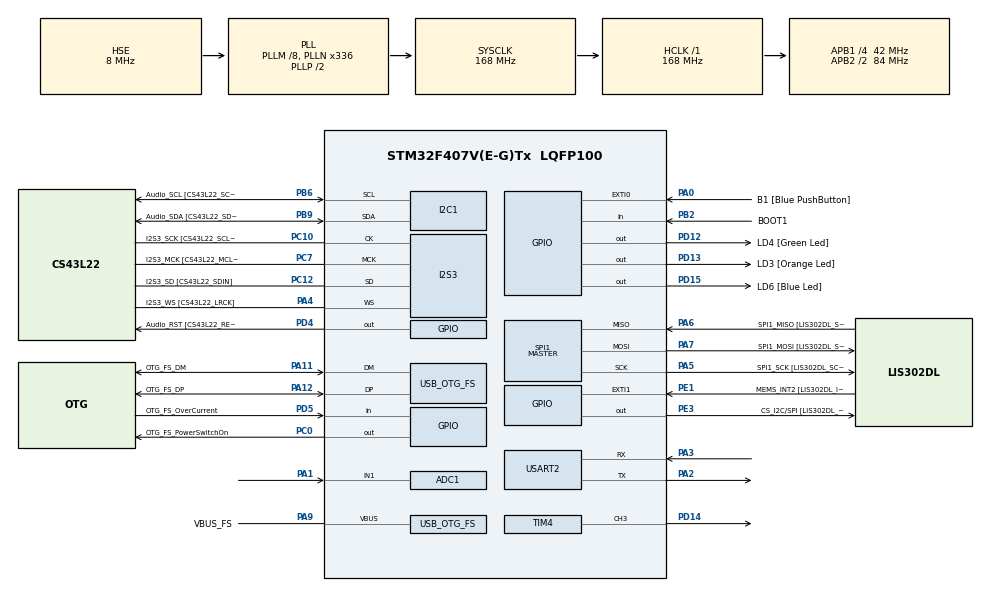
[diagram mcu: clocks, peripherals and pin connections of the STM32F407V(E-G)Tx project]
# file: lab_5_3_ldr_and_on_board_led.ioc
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ADC1.Channel-1\#ChannelRegularConversion=ADC_CHANNEL_1
ADC1.NbrOfConversionFlag=1
ADC1.Rank-1\#ChannelRegularConversion=1
ADC1.SamplingTime-1\#ChannelRegularConversion=ADC_SAMPLETIME_3CYCLES
ADC1.master=1
I2S3.AudioFreq-Half_Duplex_Master=I2S_AUDIOFREQ_96K
I2S3.ErrorAudioFreq=-2.34 %
I2S3.ErrorAudioFreq-Half_Duplex_Master=0.8 %
I2S3.FullDuplexMode=I2S_FULLDUPLEXMODE_DISABLE
I2S3.Instance=SPI$Index
I2S3.RealAudioFreq=93.75 KHz
I2S3.RealAudioFreq-Half_Duplex_Master=96.774 KHz
I2S3.VirtualMode=I2S_MODE_MASTER
Mcu.Family=STM32F4
Mcu.Name=STM32F407V(E-G)Tx
Mcu.Package=LQFP100
NVIC.OTG_FS_IRQn=true\:0\:0\:false\:false\:true\:true\:true\:true
NVIC.PriorityGroup=NVIC_PRIORITYGROUP_0
PA0-WKUP.GPIO_Label=B1 [Blue PushButton]
PA0-WKUP.GPIO_ModeDefaultEXTI=GPIO_MODE_EVT_RISING
PA0-WKUP.GPIO_PuPd=GPIO_NOPULL
PA0-WKUP.Signal=GPXTI0
PA1.Signal=ADCx_IN1
PA10.GPIO_Label=OTG_FS_ID
PA10.GPIO_Mode=GPIO_MODE_AF_PP
PA10.GPIO_PuPd=GPIO_NOPULL
PA10.GPIO_Speed=GPIO_SPEED_FREQ_LOW
PA10.Signal=USB_OTG_FS_ID
PA11.GPIO_Label=OTG_FS_DM
PA11.GPIO_Mode=GPIO_MODE_AF_PP
PA11.GPIO_PuPd=GPIO_NOPULL
PA11.GPIO_Speed=GPIO_SPEED_FREQ_LOW
PA11.Mode=Host_Only
PA11.Signal=USB_OTG_FS_DM
PA12.GPIO_Label=OTG_FS_DP
PA12.GPIO_Mode=GPIO_MODE_AF_PP
PA12.GPIO_PuPd=GPIO_NOPULL
PA12.GPIO_Speed=GPIO_SPEED_FREQ_LOW
PA12.Mode=Host_Only
PA12.Signal=USB_OTG_FS_DP
PA13.GPIO_Label=SWDIO
PA13.Mode=Serial_Wire
PA13.Signal=SYS_JTMS-SWDIO
PA14.GPIO_Label=SWCLK
PA14.Mode=Serial_Wire
PA14.Signal=SYS_JTCK-SWCLK
PA2.Mode=Asynchronous
PA2.Signal=USART2_TX
PA3.Mode=Asynchronous
PA3.Signal=USART2_RX
PA4.GPIO_Label=I2S3_WS [CS43L22_LRCK]
PA4.GPIO_Mode=GPIO_MODE_AF_PP
PA4.GPIO_PuPd=GPIO_NOPULL
PA4.GPIO_Speed=GPIO_SPEED_FREQ_LOW
PA4.Mode=Half_Duplex_Master
PA4.Signal=I2S3_WS
PA5.GPIO_Label=SPI1_SCK [LIS302DL_SCL/SPC]
PA5.GPIO_Mode=GPIO_MODE_AF_PP
PA5.GPIO_PuPd=GPIO_NOPULL
PA5.GPIO_Speed=GPIO_SPEED_FREQ_LOW
PA5.Mode=Full_Duplex_Master
PA5.Signal=SPI1_SCK
PA6.GPIO_Label=SPI1_MISO [LIS302DL_SDO]
PA6.GPIO_Mode=GPIO_MODE_AF_PP
PA6.GPIO_PuPd=GPIO_NOPULL
PA6.GPIO_Speed=GPIO_SPEED_FREQ_LOW
PA6.Mode=Full_Duplex_Master
PA6.Signal=SPI1_MISO
PA7.GPIO_Label=SPI1_MOSI [LIS302DL_SDA/SDI/SDO]
PA7.GPIO_Mode=GPIO_MODE_AF_PP
PA7.GPIO_PuPd=GPIO_NOPULL
PA7.GPIO_Speed=GPIO_SPEED_FREQ_LOW
PA7.Mode=Full_Duplex_Master
PA7.Signal=SPI1_MOSI
PA9.GPIO_Label=VBUS_FS
PA9.GPIO_Mode=GPIO_MODE_INPUT
PA9.GPIO_PuPd=GPIO_NOPULL
PA9.Mode=Activate_VBUS
PA9.Signal=USB_OTG_FS_VBUS
PB10.GPIO_Label=CLK_IN [MP45DT02_CLK]
PB10.GPIO_Mode=GPIO_MODE_AF_PP
PB10.GPIO_PuPd=GPIO_NOPULL
PB10.GPIO_Speed=GPIO_SPEED_FREQ_LOW
PB10.Signal=I2S2_CK
PB2.GPIO_Label=BOOT1
PB2.GPIO_Mode=GPIO_MODE_INPUT
PB2.GPIO_PuPd=GPIO_NOPULL
PB2.Signal=GPIO_Input
PB3.GPIO_Label=SWO
PB3.Signal=SYS_JTDO-SWO
PB6.GPIO_Label=Audio_SCL [CS43L22_SCL]
PB6.GPIO_Mode=GPIO_MODE_AF_OD
PB6.GPIO_Pu=GPIO_PULLUP
PB6.GPIO_PuPd=GPIO_NOPULL
PB6.GPIO_Speed=GPIO_SPEED_FREQ_LOW
PB6.Mode=I2C
PB6.Signal=I2C1_SCL
PB9.GPIO_Label=Audio_SDA [CS43L22_SDA]
PB9.GPIO_Mode=GPIO_MODE_AF_OD
PB9.GPIO_Pu=GPIO_PULLUP
PB9.GPIO_PuPd=GPIO_NOPULL
PB9.GPIO_Speed=GPIO_SPEED_FREQ_LOW
PB9.Mode=I2C
PB9.Signal=I2C1_SDA
PC0.GPIO_Label=OTG_FS_PowerSwitchOn
PC0.GPIO_PuPd=GPIO_NOPULL
PC0.GPIO_Speed=GPIO_SPEED_FREQ_LOW
PC0.PinState=GPIO_PIN_SET
PC0.Signal=GPIO_Output
PC10.GPIO_Label=I2S3_SCK [CS43L22_SCLK]
PC10.GPIO_Mode=GPIO_MODE_AF_PP
PC10.GPIO_PuPd=GPIO_NOPULL
PC10.GPIO_Speed=GPIO_SPEED_FREQ_LOW
PC10.Mode=Half_Duplex_Master
PC10.Signal=I2S3_CK
PC12.GPIO_Label=I2S3_SD [CS43L22_SDIN]
PC12.GPIO_Mode=GPIO_MODE_AF_PP
PC12.GPIO_PuPd=GPIO_NOPULL
PC12.GPIO_Speed=GPIO_SPEED_FREQ_LOW
PC12.Mode=Half_Duplex_Master
PC12.Signal=I2S3_SD
PC14-OSC32_IN.GPIO_Label=PC14-OSC32_IN
PC14-OSC32_IN.Mode=LSE-External-Oscillator
PC14-OSC32_IN.Signal=RCC_OSC32_IN
PC15-OSC32_OUT.GPIO_Label=PC15-OSC32_OUT
PC15-OSC32_OUT.Mode=LSE-External-Oscillator
PC15-OSC32_OUT.Signal=RCC_OSC32_OUT
PC3.GPIO_Label=PDM_OUT [MP45DT02_DOUT]
PC3.GPIO_Mode=GPIO_MODE_AF_PP
PC3.GPIO_PuPd=GPIO_NOPULL
PC3.GPIO_Speed=GPIO_SPEED_FREQ_LOW
PC3.Signal=I2S2_SD
PC7.GPIO_Label=I2S3_MCK [CS43L22_MCLK]
PC7.GPIO_Mode=GPIO_MODE_AF_PP
PC7.GPIO_PuPd=GPIO_NOPULL
PC7.GPIO_Speed=GPIO_SPEED_FREQ_LOW
PC7.Mode=Master_Clock_Activated
PC7.Signal=I2S3_MCK
PD12.GPIO_Label=LD4 [Green Led]
PD12.GPIO_PuPd=GPIO_NOPULL
PD12.GPIO_Speed=GPIO_SPEED_FREQ_LOW
PD12.Signal=GPIO_Output
PD13.GPIO_Label=LD3 [Orange Led]
PD13.GPIO_PuPd=GPIO_NOPULL
PD13.GPIO_Speed=GPIO_SPEED_FREQ_LOW
PD13.Signal=GPIO_Output
PD14.Signal=S_TIM4_CH3
PD15.GPIO_Label=LD6 [Blue Led]
PD15.GPIO_PuPd=GPIO_NOPULL
PD15.GPIO_Speed=GPIO_SPEED_FREQ_LOW
PD15.Signal=GPIO_Output
PD4.GPIO_Label=Audio_RST [CS43L22_RESET]
PD4.GPIO_PuPd=GPIO_NOPULL
PD4.GPIO_Speed=GPIO_SPEED_FREQ_LOW
PD4.Signal=GPIO_Output
PD5.GPIO_Label=OTG_FS_OverCurrent
PD5.GPIO_Mode=GPIO_MODE_INPUT
PD5.GPIO_PuPd=GPIO_NOPULL
PD5.Signal=GPIO_Input
PE1.GPIO_Label=MEMS_INT2 [LIS302DL_INT2]
PE1.GPIO_ModeDefaultEXTI=GPIO_MODE_EVT_RISING
PE1.GPIO_PuPd=GPIO_NOPULL
PE1.Signal=GPXTI1
PE3.GPIO_Label=CS_I2C/SPI [LIS302DL_CS_I2C/SPI]
PE3.GPIO_PuPd=GPIO_NOPULL
PE3.GPIO_Speed=GPIO_SPEED_FREQ_LOW
PE3.Signal=GPIO_Output
PH0-OSC_IN.GPIO_Label=PH0-OSC_IN
PH0-OSC_IN.Mode=HSE-External-Oscillator
PH0-OSC_IN.Signal=RCC_OSC_IN
PH1-OSC_OUT.GPIO_Label=PH1-OSC_OUT
PH1-OSC_OUT.Mode=HSE-External-Oscillator
PH1-OSC_OUT.Signal=RCC_OSC_OUT
ProjectManager.HeapSize=0x200
ProjectManager.StackSize=0x400
ProjectManager.TargetToolchain=STM32CubeIDE
RCC.48MHZClocksFreq_Value=48000000
RCC.AHBFreq_Value=168000000
RCC.APB1CLKDivider=RCC_HCLK_DIV4
RCC.APB1Freq_Value=42000000
RCC.APB1TimFreq_Value=84000000
RCC.APB2CLKDivider=RCC_HCLK_DIV2
RCC.APB2Freq_Value=84000000
RCC.APB2TimFreq_Value=168000000
RCC.CortexFreq_Value=168000000
RCC.HCLKFreq_Value=168000000
RCC.HSE_VALUE=8000000
RCC.HSI_VALUE=16000000
RCC.PLLM=8
RCC.PLLN=336
RCC.PLLQ=7
RCC.SYSCLKFreq_VALUE=168000000
RCC.SYSCLKSource=RCC_SYSCLKSOURCE_PLLCLK
RCC.VCOOutputFreq_Value=336000000
SH.ADCx_IN1.0=ADC1_IN1,IN1
SH.S_TIM4_CH3.0=TIM4_CH3,PWM Generation3 CH3
SPI1.BaudRatePrescaler-Full_Duplex_Master=SPI_BAUDRATEPRESCALER_2
SPI1.CalculateBaudRate-Full_Duplex_Master=42.0 MBits/s
SPI1.Direction=SPI_DIRECTION_2LINES
SPI1.Mode=SPI_MODE_MASTER
SPI1.Mode-Full_Duplex_Master=SPI_MODE_MASTER
SPI1.VirtualType=VM_MASTER
TIM4.Channel-PWM\ Generation3\ CH3=TIM_CHANNEL_3
TIM4.Period=100
USART2.VirtualMode=VM_ASYNC
USB_HOST.BSP.number=1
USB_HOST.USBH_HandleTypeDef-CDC_FS=hUsbHostFS
USB_HOST.VirtualModeFS=Cdc
USB_HOST0.BSP.STBoard=false
USB_HOST0.BSP.api=Unknown
USB_HOST0.BSP.i2caddr=0
USB_HOST0.BSP.i2creg=0
USB_HOST0.BSP.instance=PC0
USB_HOST0.BSP.ip=GPIO
USB_HOST0.BSP.mode=Output
USB_HOST0.BSP.name=Drive_VBUS_FS
USB_HOST0.BSP.solution=PC0
USB_OTG_FS.VirtualMode=Host_Only
USB_OTG_FS.phy_itface=HCD_PHY_EMBEDDED
VP_TIM4_VS_ClockSourceINT.Mode=Internal
VP_USB_HOST_VS_USB_HOST_CDC_FS.Mode=CDC_FS
board=STM32F407G-DISC1

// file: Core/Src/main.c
/* USER CODE BEGIN Header */
/**
 ******************************************************************************
 * @file           : main.c
 * @brief          : Main program body
 ******************************************************************************
 * @attention
 *
 * Copyright (c) 2022 STMicroelectronics.
 * All rights reserved.
 *
 * This software is licensed under terms that can be found in the LICENSE file
 * in the root directory of this software component.
 * If no LICENSE file comes with this software, it is provided AS-IS.
 *
 ******************************************************************************
 */
/* USER CODE END Header */
#include "main.h"
#include "usb_host.h"

ADC_HandleTypeDef hadc1;

I2C_HandleTypeDef hi2c1;

I2S_HandleTypeDef hi2s3;

SPI_HandleTypeDef hspi1;

TIM_HandleTypeDef htim4;

UART_HandleTypeDef huart2;

void SystemClock_Config(void);
static void MX_GPIO_Init(void);
static void MX_I2C1_Init(void);
static void MX_I2S3_Init(void);
static void MX_SPI1_Init(void);
static void MX_ADC1_Init(void);
static void MX_USART2_UART_Init(void);
static void MX_TIM4_Init(void);
void MX_USB_HOST_Process(void);

int main(void) {

	/* MCU Configuration--------------------------------------------------------*/

	/* Reset of all peripherals, Initializes the Flash interface and the Systick. */
	HAL_Init();

	/* Configure the system clock */
	SystemClock_Config();

	/* Initialize all configured peripherals */
	MX_GPIO_Init();
	MX_I2C1_Init();
	MX_I2S3_Init();
	MX_SPI1_Init();
	MX_USB_HOST_Init();
	MX_ADC1_Init();
	MX_USART2_UART_Init();
	MX_TIM4_Init();
	/* USER CODE BEGIN 2 */

	HAL_TIM_PWM_Start(&htim4, TIM_CHANNEL_3);

	/* USER CODE END 2 */

	/* Infinite loop */
	/* USER CODE BEGIN WHILE */
	char output_buffer[10];
	uint32_t max_LDR_val = 3000;
	uint32_t min_LDR_val = 400;
	int p = max_LDR_val - min_LDR_val;

	while (1) {
		/* USER CODE END WHILE */
		MX_USB_HOST_Process();

		/* USER CODE BEGIN 3 */
		HAL_ADC_Start(&hadc1);
		HAL_ADC_PollForConversion(&hadc1, HAL_MAX_DELAY);

		uint32_t LDR_value = HAL_ADC_GetValue(&hadc1);
		sprintf(output_buffer, "%hu \r\n", LDR_value);
		HAL_UART_Transmit(&huart2, &output_buffer, strlen(output_buffer), 100);

		int c = max_LDR_val - LDR_value;
		int duty_cycle_percentage = (1 - (c / p)) * 100;
		if (duty_cycle_percentage > 100)
			duty_cycle_percentage = 100;
		else if (a < 0)
			duty_cycle_percentage = 0;

		TIM4->CCR3 = duty_cycle_percentage;
		HAL_Delay(100);
	}
	/* USER CODE END 3 */
}

void SystemClock_Config(void) {
	RCC_OscInitTypeDef RCC_OscInitStruct = { 0 };
	RCC_ClkInitTypeDef RCC_ClkInitStruct = { 0 };

	/** Configure the main internal regulator output voltage
	 */
	__HAL_RCC_PWR_CLK_ENABLE();
	__HAL_PWR_VOLTAGESCALING_CONFIG(PWR_REGULATOR_VOLTAGE_SCALE1);

	/** Initializes the RCC Oscillators according to the specified parameters
	 * in the RCC_OscInitTypeDef structure.
	 */
	RCC_OscInitStruct.OscillatorType = RCC_OSCILLATORTYPE_HSE;
	RCC_OscInitStruct.HSEState = RCC_HSE_ON;
	RCC_OscInitStruct.PLL.PLLState = RCC_PLL_ON;
	RCC_OscInitStruct.PLL.PLLSource = RCC_PLLSOURCE_HSE;
	RCC_OscInitStruct.PLL.PLLM = 8;
	RCC_OscInitStruct.PLL.PLLN = 336;
	RCC_OscInitStruct.PLL.PLLP = RCC_PLLP_DIV2;
	RCC_OscInitStruct.PLL.PLLQ = 7;
	if (HAL_RCC_OscConfig(&RCC_OscInitStruct) != HAL_OK) {
		Error_Handler();
	}

	/** Initializes the CPU, AHB and APB buses clocks
	 */
	RCC_ClkInitStruct.ClockType = RCC_CLOCKTYPE_HCLK | RCC_CLOCKTYPE_SYSCLK
			| RCC_CLOCKTYPE_PCLK1 | RCC_CLOCKTYPE_PCLK2;
	RCC_ClkInitStruct.SYSCLKSource = RCC_SYSCLKSOURCE_PLLCLK;
	RCC_ClkInitStruct.AHBCLKDivider = RCC_SYSCLK_DIV1;
	RCC_ClkInitStruct.APB1CLKDivider = RCC_HCLK_DIV4;
	RCC_ClkInitStruct.APB2CLKDivider = RCC_HCLK_DIV2;

	if (HAL_RCC_ClockConfig(&RCC_ClkInitStruct, FLASH_LATENCY_5) != HAL_OK) {
		Error_Handler();
	}
}

static void MX_ADC1_Init(void) {

	ADC_ChannelConfTypeDef sConfig = { 0 };

	/** Configure the global features of the ADC (Clock, Resolution, Data Alignment and number of conversion)
	 */
	hadc1.Instance = ADC1;
	hadc1.Init.ClockPrescaler = ADC_CLOCK_SYNC_PCLK_DIV4;
	hadc1.Init.Resolution = ADC_RESOLUTION_12B;
	hadc1.Init.ScanConvMode = DISABLE;
	hadc1.Init.ContinuousConvMode = DISABLE;
	hadc1.Init.DiscontinuousConvMode = DISABLE;
	hadc1.Init.ExternalTrigConvEdge = ADC_EXTERNALTRIGCONVEDGE_NONE;
	hadc1.Init.ExternalTrigConv = ADC_SOFTWARE_START;
	hadc1.Init.DataAlign = ADC_DATAALIGN_RIGHT;
	hadc1.Init.NbrOfConversion = 1;
	hadc1.Init.DMAContinuousRequests = DISABLE;
	hadc1.Init.EOCSelection = ADC_EOC_SINGLE_CONV;
	if (HAL_ADC_Init(&hadc1) != HAL_OK) {
		Error_Handler();
	}

	/** Configure for the selected ADC regular channel its corresponding rank in the sequencer and its sample time.
	 */
	sConfig.Channel = ADC_CHANNEL_1;
	sConfig.Rank = 1;
	sConfig.SamplingTime = ADC_SAMPLETIME_3CYCLES;
	if (HAL_ADC_ConfigChannel(&hadc1, &sConfig) != HAL_OK) {
		Error_Handler();
	}

}

static void MX_I2C1_Init(void) {

	hi2c1.Instance = I2C1;
	hi2c1.Init.ClockSpeed = 100000;
	hi2c1.Init.DutyCycle = I2C_DUTYCYCLE_2;
	hi2c1.Init.OwnAddress1 = 0;
	hi2c1.Init.AddressingMode = I2C_ADDRESSINGMODE_7BIT;
	hi2c1.Init.DualAddressMode = I2C_DUALADDRESS_DISABLE;
	hi2c1.Init.OwnAddress2 = 0;
	hi2c1.Init.GeneralCallMode = I2C_GENERALCALL_DISABLE;
	hi2c1.Init.NoStretchMode = I2C_NOSTRETCH_DISABLE;
	if (HAL_I2C_Init(&hi2c1) != HAL_OK) {
		Error_Handler();
	}

}

static void MX_I2S3_Init(void) {

	hi2s3.Instance = SPI3;
	hi2s3.Init.Mode = I2S_MODE_MASTER_TX;
	hi2s3.Init.Standard = I2S_STANDARD_PHILIPS;
	hi2s3.Init.DataFormat = I2S_DATAFORMAT_16B;
	hi2s3.Init.MCLKOutput = I2S_MCLKOUTPUT_ENABLE;
	hi2s3.Init.AudioFreq = I2S_AUDIOFREQ_96K;
	hi2s3.Init.CPOL = I2S_CPOL_LOW;
	hi2s3.Init.ClockSource = I2S_CLOCK_PLL;
	hi2s3.Init.FullDuplexMode = I2S_FULLDUPLEXMODE_DISABLE;
	if (HAL_I2S_Init(&hi2s3) != HAL_OK) {
		Error_Handler();
	}

}

static void MX_SPI1_Init(void) {

	/* SPI1 parameter configuration*/
	hspi1.Instance = SPI1;
	hspi1.Init.Mode = SPI_MODE_MASTER;
	hspi1.Init.Direction = SPI_DIRECTION_2LINES;
	hspi1.Init.DataSize = SPI_DATASIZE_8BIT;
	hspi1.Init.CLKPolarity = SPI_POLARITY_LOW;
	hspi1.Init.CLKPhase = SPI_PHASE_1EDGE;
	hspi1.Init.NSS = SPI_NSS_SOFT;
	hspi1.Init.BaudRatePrescaler = SPI_BAUDRATEPRESCALER_2;
	hspi1.Init.FirstBit = SPI_FIRSTBIT_MSB;
	hspi1.Init.TIMode = SPI_TIMODE_DISABLE;
	hspi1.Init.CRCCalculation = SPI_CRCCALCULATION_DISABLE;
	hspi1.Init.CRCPolynomial = 10;
	if (HAL_SPI_Init(&hspi1) != HAL_OK) {
		Error_Handler();
	}

}

static void MX_TIM4_Init(void) {

	TIM_ClockConfigTypeDef sClockSourceConfig = { 0 };
	TIM_MasterConfigTypeDef sMasterConfig = { 0 };
	TIM_OC_InitTypeDef sConfigOC = { 0 };

	htim4.Instance = TIM4;
	htim4.Init.Prescaler = 0;
	htim4.Init.CounterMode = TIM_COUNTERMODE_UP;
	htim4.Init.Period = 100;
	htim4.Init.ClockDivision = TIM_CLOCKDIVISION_DIV1;
	htim4.Init.AutoReloadPreload = TIM_AUTORELOAD_PRELOAD_DISABLE;
	if (HAL_TIM_Base_Init(&htim4) != HAL_OK) {
		Error_Handler();
	}
	sClockSourceConfig.ClockSource = TIM_CLOCKSOURCE_INTERNAL;
	if (HAL_TIM_ConfigClockSource(&htim4, &sClockSourceConfig) != HAL_OK) {
		Error_Handler();
	}
	if (HAL_TIM_PWM_Init(&htim4) != HAL_OK) {
		Error_Handler();
	}
	sMasterConfig.MasterOutputTrigger = TIM_TRGO_RESET;
	sMasterConfig.MasterSlaveMode = TIM_MASTERSLAVEMODE_DISABLE;
	if (HAL_TIMEx_MasterConfigSynchronization(&htim4, &sMasterConfig)
			!= HAL_OK) {
		Error_Handler();
	}
	sConfigOC.OCMode = TIM_OCMODE_PWM1;
	sConfigOC.Pulse = 0;
	sConfigOC.OCPolarity = TIM_OCPOLARITY_HIGH;
	sConfigOC.OCFastMode = TIM_OCFAST_DISABLE;
	if (HAL_TIM_PWM_ConfigChannel(&htim4, &sConfigOC, TIM_CHANNEL_3)
			!= HAL_OK) {
		Error_Handler();
	}
	HAL_TIM_MspPostInit(&htim4);

}

static void MX_USART2_UART_Init(void) {

	huart2.Instance = USART2;
	huart2.Init.BaudRate = 115200;
	huart2.Init.WordLength = UART_WORDLENGTH_8B;
	huart2.Init.StopBits = UART_STOPBITS_1;
	huart2.Init.Parity = UART_PARITY_NONE;
	huart2.Init.Mode = UART_MODE_TX_RX;
	huart2.Init.HwFlowCtl = UART_HWCONTROL_NONE;
	huart2.Init.OverSampling = UART_OVERSAMPLING_16;
	if (HAL_UART_Init(&huart2) != HAL_OK) {
		Error_Handler();
	}

}

static void MX_GPIO_Init(void) {
	GPIO_InitTypeDef GPIO_InitStruct = { 0 };

	/* GPIO Ports Clock Enable */
	__HAL_RCC_GPIOE_CLK_ENABLE();
	__HAL_RCC_GPIOC_CLK_ENABLE();
	__HAL_RCC_GPIOH_CLK_ENABLE();
	__HAL_RCC_GPIOA_CLK_ENABLE();
	__HAL_RCC_GPIOB_CLK_ENABLE();
	__HAL_RCC_GPIOD_CLK_ENABLE();

	/*Configure GPIO pin Output Level */
	HAL_GPIO_WritePin(CS_I2C_SPI_GPIO_Port, CS_I2C_SPI_Pin, GPIO_PIN_RESET);

	/*Configure GPIO pin Output Level */
	HAL_GPIO_WritePin(OTG_FS_PowerSwitchOn_GPIO_Port, OTG_FS_PowerSwitchOn_Pin,
			GPIO_PIN_SET);

	/*Configure GPIO pin Output Level */
	HAL_GPIO_WritePin(GPIOD, LD4_Pin | LD3_Pin | LD6_Pin | Audio_RST_Pin,
			GPIO_PIN_RESET);

	/*Configure GPIO pin : CS_I2C_SPI_Pin */
	GPIO_InitStruct.Pin = CS_I2C_SPI_Pin;
	GPIO_InitStruct.Mode = GPIO_MODE_OUTPUT_PP;
	GPIO_InitStruct.Pull = GPIO_NOPULL;
	GPIO_InitStruct.Speed = GPIO_SPEED_FREQ_LOW;
	HAL_GPIO_Init(CS_I2C_SPI_GPIO_Port, &GPIO_InitStruct);

	/*Configure GPIO pin : OTG_FS_PowerSwitchOn_Pin */
	GPIO_InitStruct.Pin = OTG_FS_PowerSwitchOn_Pin;
	GPIO_InitStruct.Mode = GPIO_MODE_OUTPUT_PP;
	GPIO_InitStruct.Pull = GPIO_NOPULL;
	GPIO_InitStruct.Speed = GPIO_SPEED_FREQ_LOW;
	HAL_GPIO_Init(OTG_FS_PowerSwitchOn_GPIO_Port, &GPIO_InitStruct);

	/*Configure GPIO pin : PDM_OUT_Pin */
	GPIO_InitStruct.Pin = PDM_OUT_Pin;
	GPIO_InitStruct.Mode = GPIO_MODE_AF_PP;
	GPIO_InitStruct.Pull = GPIO_NOPULL;
	GPIO_InitStruct.Speed = GPIO_SPEED_FREQ_LOW;
	GPIO_InitStruct.Alternate = GPIO_AF5_SPI2;
	HAL_GPIO_Init(PDM_OUT_GPIO_Port, &GPIO_InitStruct);

	/*Configure GPIO pin : B1_Pin */
	GPIO_InitStruct.Pin = B1_Pin;
	GPIO_InitStruct.Mode = GPIO_MODE_EVT_RISING;
	GPIO_InitStruct.Pull = GPIO_NOPULL;
	HAL_GPIO_Init(B1_GPIO_Port, &GPIO_InitStruct);

	/*Configure GPIO pin : BOOT1_Pin */
	GPIO_InitStruct.Pin = BOOT1_Pin;
	GPIO_InitStruct.Mode = GPIO_MODE_INPUT;
	GPIO_InitStruct.Pull = GPIO_NOPULL;
	HAL_GPIO_Init(BOOT1_GPIO_Port, &GPIO_InitStruct);

	/*Configure GPIO pin : CLK_IN_Pin */
	GPIO_InitStruct.Pin = CLK_IN_Pin;
	GPIO_InitStruct.Mode = GPIO_MODE_AF_PP;
	GPIO_InitStruct.Pull = GPIO_NOPULL;
	GPIO_InitStruct.Speed = GPIO_SPEED_FREQ_LOW;
	GPIO_InitStruct.Alternate = GPIO_AF5_SPI2;
	HAL_GPIO_Init(CLK_IN_GPIO_Port, &GPIO_InitStruct);

	/*Configure GPIO pins : LD4_Pin LD3_Pin LD6_Pin Audio_RST_Pin */
	GPIO_InitStruct.Pin = LD4_Pin | LD3_Pin | LD6_Pin | Audio_RST_Pin;
	GPIO_InitStruct.Mode = GPIO_MODE_OUTPUT_PP;
	GPIO_InitStruct.Pull = GPIO_NOPULL;
	GPIO_InitStruct.Speed = GPIO_SPEED_FREQ_LOW;
	HAL_GPIO_Init(GPIOD, &GPIO_InitStruct);

	/*Configure GPIO pin : OTG_FS_OverCurrent_Pin */
	GPIO_InitStruct.Pin = OTG_FS_OverCurrent_Pin;
	GPIO_InitStruct.Mode = GPIO_MODE_INPUT;
	GPIO_InitStruct.Pull = GPIO_NOPULL;
	HAL_GPIO_Init(OTG_FS_OverCurrent_GPIO_Port, &GPIO_InitStruct);

	/*Configure GPIO pin : MEMS_INT2_Pin */
	GPIO_InitStruct.Pin = MEMS_INT2_Pin;
	GPIO_InitStruct.Mode = GPIO_MODE_EVT_RISING;
	GPIO_InitStruct.Pull = GPIO_NOPULL;
	HAL_GPIO_Init(MEMS_INT2_GPIO_Port, &GPIO_InitStruct);

}

void Error_Handler(void) {
	__disable_irq();
	while (1) {
	}
}
